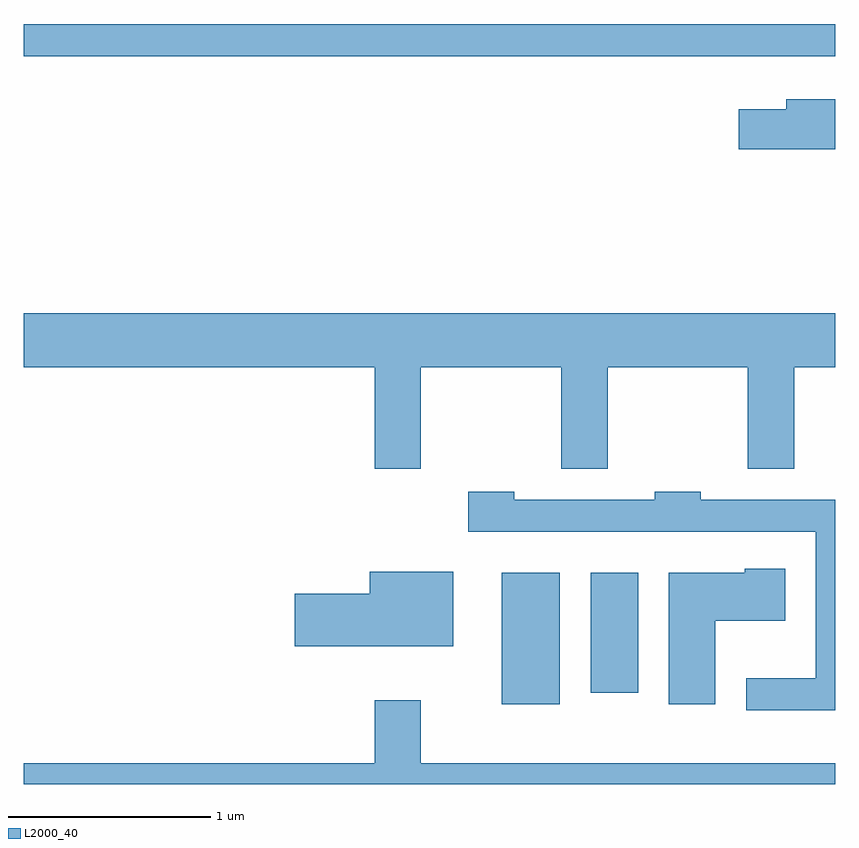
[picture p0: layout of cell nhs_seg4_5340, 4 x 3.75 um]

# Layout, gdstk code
import gdstk
lib = gdstk.Library(unit=1e-6, precision=1e-09)
def R(c, l, rs):  # rectangles x0, y0, x1, y1
    for r in rs: c.add(gdstk.rectangle(r[:2], r[2:], *l))
def P(c, l, *ps):  # polygons
    for p in ps: c.add(gdstk.Polygon(p, *l))
L2000_40 = (2000, 40)

nhs_seg4_5340 = lib.new_cell('nhs_seg4_5340')
R(nhs_seg4_5340, L2000_40, [(343.966,1326.376,344.254,1327.024), (344.406,1326.431,344.639,1327.024), (341.611,1329.571,345.611,1329.729)])
P(nhs_seg4_5340, L2000_40, [(345.611,1329.359),(345.371,1329.359),(345.371,1329.309),(345.136,1329.309),(345.136,1329.111),(345.611,1329.111)],
  [(343.569,1328.036),(344.261,1328.036),(344.261,1327.536),(344.489,1327.536),(344.489,1328.036),(345.181,1328.036),(345.181,1327.536),(345.409,1327.536),(345.409,1328.036),(345.611,1328.036),(345.611,1328.304),(341.611,1328.304),(341.611,1328.036),(343.341,1328.036),(343.341,1327.536),(343.569,1327.536)],
  [(345.611,1327.384),(344.949,1327.384),(344.949,1327.424),(344.721,1327.424),(344.721,1327.384),(344.029,1327.384),(344.029,1327.424),(343.801,1327.424),(343.801,1327.226),(345.516,1327.226),(345.516,1326.504),(345.173,1326.504),(345.173,1326.346),(345.611,1326.346)],
  [(345.019,1326.786),(345.364,1326.786),(345.364,1327.044),(345.166,1327.044),(345.166,1327.024),(344.791,1327.024),(344.791,1326.376),(345.019,1326.376)],
  [(343.729,1327.029),(343.316,1327.029),(343.316,1326.919),(342.946,1326.919),(342.946,1326.661),(343.729,1326.661)],
  [(345.611,1326.084),(343.569,1326.084),(343.569,1326.394),(343.341,1326.394),(343.341,1326.084),(341.611,1326.084),(341.611,1325.982),(345.611,1325.982)])

lib.write_gds('nhs_seg4_5340.gds')
